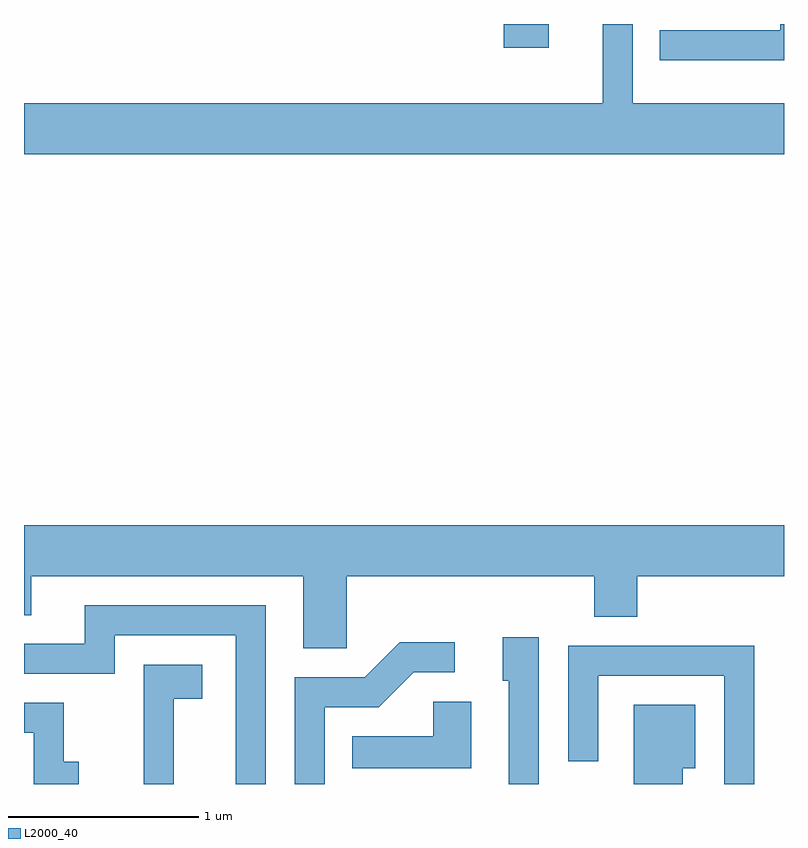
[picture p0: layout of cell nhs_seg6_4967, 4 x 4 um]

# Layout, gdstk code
import gdstk
lib = gdstk.Library(unit=1e-6, precision=1e-09)
def R(c, l, rs):  # rectangles x0, y0, x1, y1
    for r in rs: c.add(gdstk.rectangle(r[:2], r[2:], *l))
def P(c, l, *ps):  # polygons
    for p in ps: c.add(gdstk.Polygon(p, *l))
L2000_40 = (2000, 40)

nhs_seg6_4967 = lib.new_cell('nhs_seg6_4967')
R(nhs_seg6_4967, L2000_40, [(338.136,1666.036,338.374,1666.162)])
P(nhs_seg6_4967, L2000_40, [(339.611,1665.744),(338.814,1665.744),(338.814,1666.162),(338.656,1666.162),(338.656,1665.744),(335.611,1665.744),(335.611,1665.476),(339.611,1665.476)],
  [(339.611,1666.162),(339.591,1666.162),(339.591,1666.129),(338.958,1666.129),(338.958,1665.971),(339.611,1665.971)],
  [(337.309,1663.256),(338.611,1663.256),(338.611,1663.041),(338.839,1663.041),(338.839,1663.256),(339.611,1663.256),(339.611,1663.524),(335.611,1663.524),(335.611,1663.051),(335.649,1663.051),(335.649,1663.256),(337.081,1663.256),(337.081,1662.876),(337.309,1662.876)],
  [(336.884,1663.104),(335.931,1663.104),(335.931,1662.899),(335.611,1662.899),(335.611,1662.741),(336.089,1662.741),(336.089,1662.946),(336.726,1662.946),(336.726,1662.162),(336.884,1662.162)],
  [(338.319,1662.934),(338.131,1662.934),(338.131,1662.706),(338.161,1662.706),(338.161,1662.162),(338.319,1662.162)],
  [(337.194,1662.566),(337.477,1662.566),(337.662,1662.751),(337.878,1662.751),(337.878,1662.909),(337.589,1662.909),(337.404,1662.724),(337.036,1662.724),(337.036,1662.162),(337.194,1662.162)],
  [(339.454,1662.889),(338.476,1662.889),(338.476,1662.283),(338.634,1662.283),(338.634,1662.731),(339.296,1662.731),(339.296,1662.162),(339.454,1662.162)],
  [(336.399,1662.611),(336.549,1662.611),(336.549,1662.789),(336.241,1662.789),(336.241,1662.162),(336.399,1662.162)],
  [(337.964,1662.594),(337.766,1662.594),(337.766,1662.414),(337.338,1662.414),(337.338,1662.246),(337.964,1662.246)],
  [(335.898,1662.279),(335.819,1662.279),(335.819,1662.589),(335.611,1662.589),(335.611,1662.431),(335.661,1662.431),(335.661,1662.162),(335.898,1662.162)],
  [(339.079,1662.246),(339.144,1662.246),(339.144,1662.579),(338.821,1662.579),(338.821,1662.162),(339.079,1662.162)])

lib.write_gds('nhs_seg6_4967.gds')
